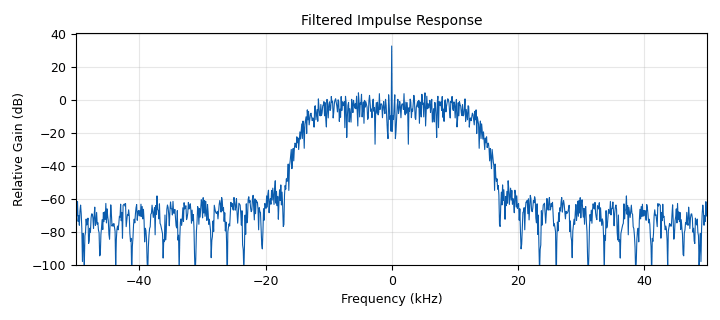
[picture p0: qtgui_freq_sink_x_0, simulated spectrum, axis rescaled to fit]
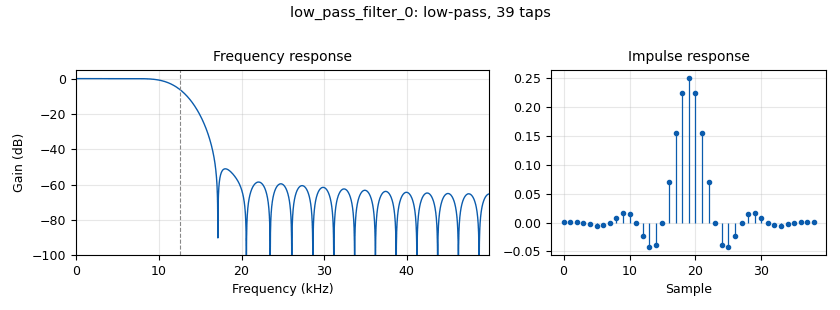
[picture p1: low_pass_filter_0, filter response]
options:
  parameters:
    author: jim
    generate_options: qt_gui
    id: filtering
    output_language: python
    title: Low Pass Filter
  states: {}

blocks:
- name: N
  id: variable
  parameters:
    value: '1024'
  states: {}
- name: samp_rate
  id: variable
  parameters:
    value: '100000'
  states: {}
- name: analog_random_source_x_0
  id: analog_random_source_x
  parameters:
    max: int(N/16)
    min: '0'
    num_samps: N
    repeat: 'True'
    type: int
  states: {state: disabled}
- name: analog_random_source_x_0_0
  id: analog_random_source_x
  parameters:
    max: int(N/16)
    min: '0'
    num_samps: N
    repeat: 'True'
    type: int
  states: {}
- name: analog_sig_source_x_0
  id: analog_sig_source_x
  parameters:
    amp: '1'
    freq: '1000'
    offset: '0'
    phase: '0'
    samp_rate: samp_rate
    type: complex
    waveform: analog.GR_COS_WAVE
  states: {state: disabled}
- name: blocks_float_to_complex_0
  id: blocks_float_to_complex
  parameters: {}
  states: {}
- name: blocks_int_to_float_0
  id: blocks_int_to_float
  parameters:
    scale: '1'
  states: {state: disabled}
- name: blocks_int_to_float_0_0
  id: blocks_int_to_float
  parameters:
    scale: '1'
  states: {}
- name: blocks_throttle2_0
  id: blocks_throttle2
  parameters:
    samples_per_second: samp_rate
    type: complex
  states: {}
- name: blocks_vector_source_x_0
  id: blocks_vector_source_x
  parameters:
    repeat: 'True'
    type: complex
    vector: (N,)+(0,)*int(N-1)
  states: {state: disabled}
- name: low_pass_filter_0
  id: low_pass_filter
  parameters:
    cutoff_freq: samp_rate/8
    decim: '1'
    gain: '1'
    samp_rate: samp_rate
    type: fir_filter_ccf
    width: samp_rate/16
    win: window.WIN_HAMMING
  states: {}
- name: qtgui_freq_sink_x_0
  id: qtgui_freq_sink_x
  parameters:
    bw: samp_rate
    fc: '0'
    fftsize: N
    name: '"Filtered Impulse Response"'
    type: complex
    wintype: window.WIN_RECTANGULAR
  states: {}

connections:
- [analog_random_source_x_0, '0', blocks_int_to_float_0, '0']
- [analog_random_source_x_0_0, '0', blocks_int_to_float_0_0, '0']
- [blocks_float_to_complex_0, '0', low_pass_filter_0, '0']
- [blocks_int_to_float_0, '0', blocks_float_to_complex_0, '1']
- [blocks_int_to_float_0_0, '0', blocks_float_to_complex_0, '0']
- [blocks_int_to_float_0_0, '0', blocks_float_to_complex_0, '1']
- [blocks_throttle2_0, '0', qtgui_freq_sink_x_0, '0']
- [low_pass_filter_0, '0', blocks_throttle2_0, '0']

metadata:
  file_format: 1
  grc_version: 3.10.9.2
